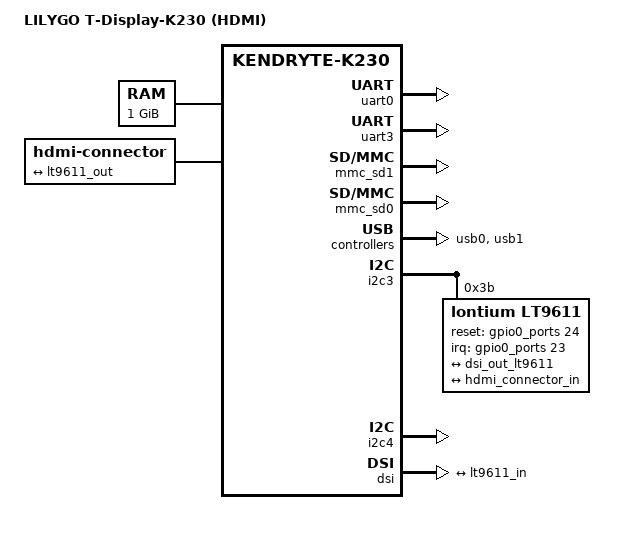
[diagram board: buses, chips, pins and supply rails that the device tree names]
// SPDX-License-Identifier: GPL-2.0 OR MIT
// LILYGO T-Display-K230, HDMI variant.
//
// This is a SEPARATE top-level board file, not a modification of
// k230-tdisplay.dts -- the two are never booted at once (see
// docs/research/hdmi-hotplug.md §4: canaan_dsi_bind() resolves &dsi's
// single port@1 exactly once, at boot, so a DT graph port has one endpoint
// and the panel and the LT9611 bridge cannot both occupy it). This file
// therefore carries NO RM69A10 panel node and NO GT9895 touch node --
// only this board's LT9611 HDMI bridge on &i2c3, wired to this board's own
// GPIO23/24 facts. openspec/changes/plugging-in-hdmi-moves-the-display,
// tasks.md task 2.2.
//
// Everything outside the &i2c3 and &dsi sections below is copied from
// k230-tdisplay.dts unchanged (memory, boot-splash reserved-memory, PMU
// power key, audio, uart/mmc/usb) -- this is the same board, only the
// display output differs. Diverge that file and this one together if a
// shared-node edit is needed; do not let them drift silently.
//
// Not this board's own device tree copied from LILYGO's or Canaan's
// reference tree: see design.md decision 1. In particular this node's
// LT9611 port numbering deliberately does NOT match
// arch/riscv/boot/dts/canaan/k230-canmv-v3.dts (reg 1/2) in this same
// pinned kernel source -- see the &i2c3 comment below for why that vendor
// file's own port numbering does not satisfy this kernel's own
// drivers/gpu/drm/bridge/lontium-lt9611.c as written.
//
// UNVERIFIED: this DTB has not been booted. Task 2.2 verifies only that it
// compiles and that the DSI graph resolves to exactly one endpoint; tasks.md
// group 3 is the first board time this file gets.

/dts-v1/;

#include "k230.dtsi"

/ {
	model = "LILYGO T-Display-K230 (HDMI)";
	compatible = "lilygo,t-display-k230-hdmi", "canaan,canmv-k230", "canaan,kendryte-k230";

	aliases {
		serial3 = &uart3;
		mmc0 = &mmc_sd0;
		mmc1 = &mmc_sd1;
		i2c0 = &i2c4;
		i2c1 = &i2c3;
	};

	chosen {
		stdout-path = "serial0:115200n8";
	};

	ddr: memory@0 {
		device_type = "memory";
		reg = <0x0 0x0 0x0 0x40000000>;
	};

	// DIVERGENCE: stage 1 scans this XRGB buffer until Linux owns the
	// panel -- carried here unchanged even though this DTB has no panel,
	// so a boot that lands here by mistake (wrong selector file) still
	// reserves the same memory stage 1 already wrote into, rather than
	// letting Linux allocate over it. See k230-tdisplay.dts's identical
	// comment.
	reserved-memory {
		#address-cells = <2>;
		#size-cells = <2>;
		ranges;

		splash_framebuffer: framebuffer@K230_SPLASH_FRAMEBUFFER_UNIT_ADDRESS {
			reg = <0x0 K230_SPLASH_FRAMEBUFFER_ADDRESS
			       0x0 K230_SPLASH_FRAMEBUFFER_SIZE>;
			no-map;
		};
	};

	// PMU INT0 power key, same as the panel DTB.
	soc {
		pmu_pwrkey: pmu-pwrkey@91000000 {
			compatible = "canaan,k230-pmu-pwrkey";
			reg = <0x0 0x91000000 0x0 0xc00>,
			      <0x0 0x91103000 0x0 0x1000>;
			reg-names = "pmu", "pwr";
			interrupts = <175 IRQ_TYPE_LEVEL_HIGH>;
			wakeup-source;
		};
	};

	sound {
		status                      = "okay";
		compatible                  = "canaan,k230-audio-inno";
		canaan,model                = "K230_I2S_INNO";
		canaan,k230-i2s-controller  = <&i2s>;
		canaan,k230-audio-codec     = <&inno_codec>;
	};

	// hdmi-connector, port 2 of the LT9611 node below. Matches the
	// binding drivers/gpu/drm/bridge/display-connector.c registers for
	// "hdmi-connector" (CONFIG_DRM_DISPLAY_CONNECTOR=y in
	// k230_defconfig, untouched by nix/kernel.nix). No ddc-i2c-bus: the
	// LT9611 bridge itself already implements DRM_BRIDGE_OP_EDID
	// (lt9611_get_edid_block(), lontium-lt9611.c:656), so this connector
	// does not need its own DDC path.
	hdmi: connector {
		compatible = "hdmi-connector";
		label = "hdmi";
		type = "a";

		port {
			hdmi_connector_in: endpoint {
				remote-endpoint = <&lt9611_out>;
			};
		};
	};
};

&gpio1_ports {
	gpio-line-names =
		"MAX98357A_I2S_BCLK",
		"MAX98357A_I2S_LRCK",
		"MAX98357A_SDMODE",
		"MAX98357A_I2S_DOUT";
};

&uart0 {
	status = "okay";
};

&uart3 {
	status = "okay";
};

&mmc_sd1 {
	status = "okay";
	no-1-8-v;
	cap-sd-highspeed;
	mshc_ctrl_r = <0x00>;
};

&mmc_sd0 {
	status = "okay";
	no-1-8-v;
	rx_delay_line = <0x0d>;
	tx_delay_line = <0xc0>;
};

&usb0 {
	status = "okay";
};

&usb1 {
	status = "okay";
};

&i2c3 {
	status = "okay";

	// The LT9611 DSI-to-HDMI bridge. &i2c3 is this board's own bus
	// (schematic sheet "HDMI+ETH" ties HDMI_CSCL/HDMI_CSDA to
	// I2C3_SCL/I2C3_SDA, sheet "Video"'s net-label table) -- the same
	// bus GT9895 touch uses at 0x5d in k230-tdisplay.dts, no address
	// collision. See docs/research/hdmi-hotplug.md §1-§2 and
	// docs/evidence/hdmi-hotplug/probe/lt9611-probe-2026-09-29.md
	// (0x3b acknowledges, chip ID 0x17 0x02 rev 0xe2, observed on
	// hardware with the panel DTB still booted and no LT9611 node
	// loaded).
	//
	// reset-gpios / interrupts: GPIO24 and GPIO23 are the same physical
	// nets as touch's reset/interrupt in k230-tdisplay.dts (schematic
	// sheet "Video", HDMI_RSTN->TP_RST and HDMI_INT->TP_INT single
	// unbroken wires) -- but THIS device tree carries no touch node, so
	// there is no live polarity/trigger-type conflict to resolve here;
	// that conflict only exists if a future change tries to put both
	// nodes in one DTB (specs/display/touch/spec.md). GPIO_ACTIVE_HIGH
	// reset and IRQ_TYPE_EDGE_FALLING match this driver's own
	// expectations (lt9611_gpio_init() requests GPIOD_OUT_HIGH for
	// "reset", i.e. the DT flag decides the sense; the HPD/status
	// interrupt is edge-driven by design, not level-held like touch's
	// GT9895).
	//
	// Port numbering DELIBERATELY differs from
	// arch/riscv/boot/dts/canaan/k230-canmv-v3.dts in this same pinned
	// kernel source, which wires ports reg=1 (DSI in) and reg=2 (HDMI
	// out) and NO reg=0. Read directly from this kernel's own
	// drivers/gpu/drm/bridge/lontium-lt9611.c, lt9611_parse_dt()
	// (lines 906-919):
	//
	//   dsi0_node = of_graph_get_remote_node(dev->of_node, 0, -1);
	//   if (!dsi0_node) { ...; return -ENODEV; }   // port 0 is REQUIRED
	//   dsi1_node = of_graph_get_remote_node(dev->of_node, 1, -1); // optional
	//   return drm_of_find_panel_or_bridge(dev->of_node, 2, -1, NULL,
	//                                      &next_bridge);           // port 2 REQUIRED
	//
	// of_graph_get_remote_node() matches a port node's `reg` property,
	// not its position in the file (drivers/of/property.c,
	// of_graph_get_endpoint_by_regs()). A node with only reg=1 and reg=2
	// has no port whose reg is 0, so of_graph_get_remote_node(dev, 0, -1)
	// returns NULL and lt9611_probe() fails at "failed to parse device
	// tree" before ever touching hardware. Whether Canaan's or LILYGO's
	// own kernel fork's lontium-lt9611.c tolerates that numbering is not
	// established here (different source tree, not read for this
	// change) -- what is established is that THIS kernel's driver, the
	// one nix/kernel.nix actually builds, needs reg=0 for the primary
	// DSI input and reg=2 for the downstream connector/bridge. This node
	// is written against that reading, not against the vendor file's
	// numbers. Board proof that it actually binds is tasks.md group 3/4,
	// not this task.
	lt9611: hdmi-bridge@3b {
		compatible = "lontium,lt9611";
		reg = <0x3b>;
		reset-gpios = <&gpio0_ports 24 GPIO_ACTIVE_HIGH>;
		interrupt-parent = <&gpio0_ports>;
		interrupts = <23 IRQ_TYPE_EDGE_FALLING>;

		ports {
			#address-cells = <1>;
			#size-cells = <0>;

			port@0 {
				reg = <0>;
				lt9611_in: endpoint {
					remote-endpoint = <&dsi_out_lt9611>;
				};
			};

			port@2 {
				reg = <2>;
				lt9611_out: endpoint {
					remote-endpoint = <&hdmi_connector_in>;
				};
			};
		};
	};
};

&i2c4 {
	status = "okay";
};

&mipi0 {
	// set to csi2
	id = <2>;
	reg = <0x0 0x9000a800 0x0 0x800>;
	interrupts = <121 IRQ_TYPE_LEVEL_HIGH>;
	resets = <&sysctl_reset K230_RESET_CSI2_REG_OFFSET K230_RESET_CSI2_TYPE
			  K230_RESET_CSI2_DONE_BIT K230_RESET_CSI2_ASSERT_BIT>,
	<&sysctl_reset K230_RESET_M2_REG_OFFSET K230_RESET_M2_TYPE
		 K230_RESET_M2_DONE_BIT K230_RESET_M2_ASSERT_BIT>;
};

// &dsi's single port@1 -- the same port index k230-tdisplay.dts's panel
// endpoint (dsi_out_rm69a10) occupies -- now resolves to the LT9611
// instead. canaan_dsi_bind() finds whichever single endpoint is here via
// drm_of_find_panel_or_bridge(dsi->dev->of_node, 1, -1, ...); with the
// kernel patch in nix/patches/canaan-dsi-bridge-connector.patch, a bridge
// found here now gets a real drm_bridge_connector, where before it did
// not. See docs/research/hdmi-hotplug.md §4 and design.md decision 2.
&dsi {
	ports {
		port@1 {
			reg = <1>;
			dsi_out_lt9611: endpoint {
				remote-endpoint = <&lt9611_in>;
			};
		};
	};
};
